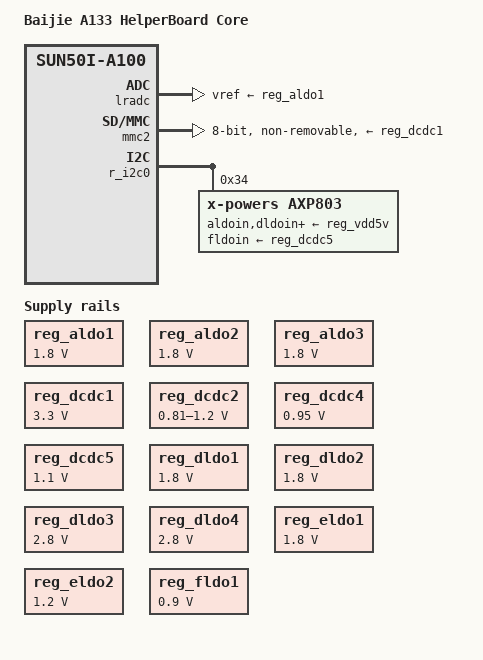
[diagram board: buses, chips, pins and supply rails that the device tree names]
// SPDX-License-Identifier: (GPL-2.0+ OR MIT)
/*
 * Copyright (c) 2025 Arm Ltd.
 * Copyright (c) 2026 Alexander Sverdlin <alexander.sverdlin@gmail.com>
 */

/dts-v1/;

#include "sun50i-a100.dtsi"
#include "sun50i-a100-cpu-opp.dtsi"

/{
	model = "Baijie A133 HelperBoard Core";
	compatible = "baijie,helperboard-a133-core",
		     "allwinner,sun50i-a100";

	aliases {
		serial1 = &uart1;	/* BT module */
	};
};

&cpu0 {
	cpu-supply = <&reg_dcdc2>;
};

&lradc {
	vref-supply = <&reg_aldo1>;
};

&mmc2 {
	vmmc-supply = <&reg_dcdc1>;
	vqmmc-supply = <&reg_eldo1>;
	cap-mmc-highspeed;
	cap-mmc-hw-reset;
	max-frequency = <100000000>;
	non-removable;
	bus-width = <8>;
	mmc-ddr-1_8v;
	mmc-hs200-1_8v;
	status = "okay";
};

&pio {
	vcc-pb-supply = <&reg_dcdc1>;
	vcc-pc-supply = <&reg_eldo1>;
	vcc-pd-supply = <&reg_dcdc1>;
	vcc-pe-supply = <&reg_dldo2>;
	vcc-pf-supply = <&reg_dcdc1>;
	vcc-pg-supply = <&reg_dldo1>;
	vcc-ph-supply = <&reg_dcdc1>;
	/*
	 * PL0/PL1 are the I2C connection to PMIC, but it would create a
	 * circular dependency:
	 * vcc-pl-supply = <&reg_aldo3>;
	 */
};

&r_i2c0 {
	status = "okay";

	axp803: pmic@34 {
		compatible = "x-powers,axp803";
		reg = <0x34>;
		interrupt-parent = <&r_intc>;
		interrupts = <0 IRQ_TYPE_LEVEL_LOW>;
		x-powers,drive-vbus-en;		/* set N_VBUSEN as output pin */
		aldoin-supply = <&reg_vdd5v>;
		dldoin-supply = <&reg_vdd5v>;
		eldoin-supply = <&reg_vdd5v>;
		fldoin-supply = <&reg_dcdc5>;
		vin1-supply = <&reg_vdd5v>;
		vin2-supply = <&reg_vdd5v>;
		vin3-supply = <&reg_vdd5v>;
		vin4-supply = <&reg_vdd5v>;
		vin5-supply = <&reg_vdd5v>;
		vin6-supply = <&reg_vdd5v>;
		drivevbus-supply = <&reg_vdd5v>;
	};
};

#include "axp803.dtsi"

&ac_power_supply {
	status = "okay";
};

&reg_aldo1 {
	/* PLL + LRADC analog reference */
	regulator-always-on;
	regulator-min-microvolt = <1800000>;
	regulator-max-microvolt = <1800000>;
	regulator-name = "vcc-pll";
};

&reg_aldo2 {
	/* LPDDR */
	regulator-always-on;
	regulator-min-microvolt = <1800000>;
	regulator-max-microvolt = <1800000>;
	regulator-name = "vdd18-lpddr";
};

&reg_aldo3 {
	/*
	 * Port L, but linking it to &pio node would create a circular
	 * dependency because of PL0/PL1 I2C connection to PMIC
	 */
	regulator-always-on;
	regulator-min-microvolt = <1800000>;
	regulator-max-microvolt = <1800000>;
	regulator-name = "vcc-pl";
};

&reg_dcdc1 {
	/* Besides Port D it also powers analog part of USB IP and SoC I/O */
	regulator-always-on;
	regulator-min-microvolt = <3300000>;
	regulator-max-microvolt = <3300000>;
	regulator-name = "vcc-3v3";
};

&reg_dcdc2 {
	regulator-always-on;
	regulator-min-microvolt = <810000>;
	regulator-max-microvolt = <1200000>;
	regulator-name = "vdd-cpu";
};

/* DCDC3 is polyphased with DCDC2 */

&reg_dcdc4 {
	/* Digital part of USB IP, "System" SoC power rail */
	regulator-always-on;
	regulator-min-microvolt = <950000>;
	regulator-max-microvolt = <950000>;
	regulator-name = "vdd-sys";
};

&reg_dcdc5 {
	regulator-always-on;
	regulator-min-microvolt = <1100000>;
	regulator-max-microvolt = <1100000>;
	regulator-name = "vcc-dram";
};

/* DCDC6 unused */
&reg_dcdc6 {
	status = "disabled";
};

&reg_dldo1 {
	regulator-min-microvolt = <1800000>;
	regulator-max-microvolt = <1800000>;
	regulator-name = "vcc-pg";
};

&reg_dldo2 {
	regulator-min-microvolt = <1800000>;
	regulator-max-microvolt = <1800000>;
	regulator-name = "vcc-pe";
};

&reg_dldo3 {
	regulator-min-microvolt = <2800000>;
	regulator-max-microvolt = <2800000>;
	regulator-name = "avdd-csi";
};

&reg_dldo4 {
	regulator-min-microvolt = <2800000>;
	regulator-max-microvolt = <2800000>;
	regulator-name = "afvcc-csi";
};

&reg_eldo1 {
	regulator-min-microvolt = <1800000>;
	regulator-max-microvolt = <1800000>;
	regulator-name = "vcc-pc";
};

&reg_eldo2 {
	regulator-min-microvolt = <1200000>;
	regulator-max-microvolt = <1200000>;
	regulator-name = "dvdd-csi";
};

/* ELDO3 unused */

&reg_fldo1 {
	/* CPUS power rail */
	regulator-always-on;
	regulator-min-microvolt = <900000>;
	regulator-max-microvolt = <900000>;
	regulator-name = "vdd-cpus";
};

/* reg_drivevbus unused */
